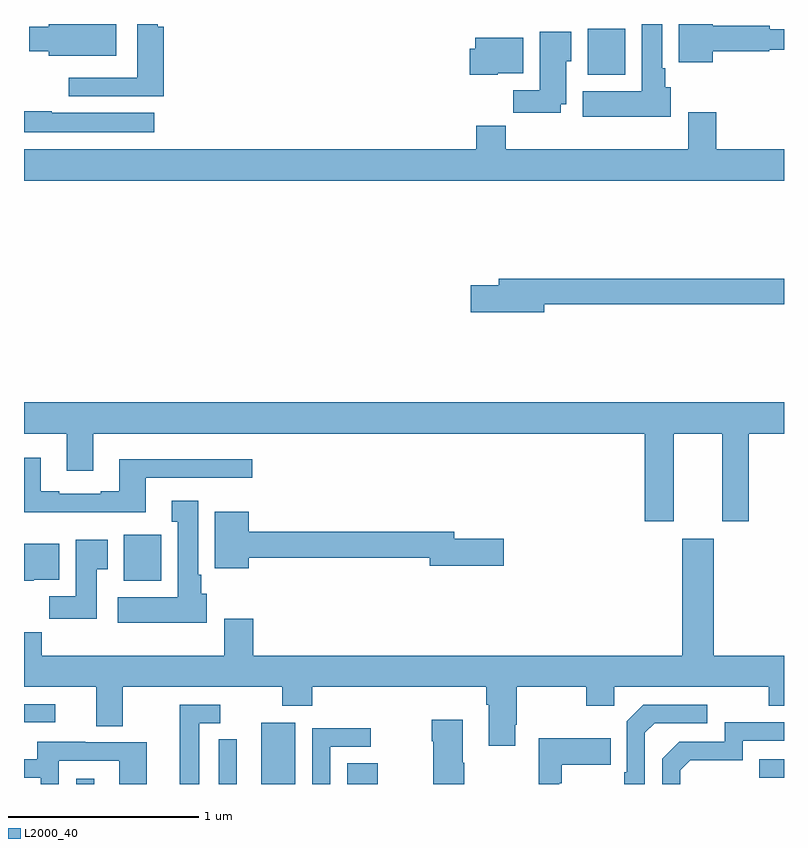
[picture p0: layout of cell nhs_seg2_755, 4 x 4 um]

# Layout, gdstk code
import gdstk
lib = gdstk.Library(unit=1e-6, precision=1e-09)
def R(c, l, rs):  # rectangles x0, y0, x1, y1
    for r in rs: c.add(gdstk.rectangle(r[:2], r[2:], *l))
def P(c, l, *ps):  # polygons
    for p in ps: c.add(gdstk.Polygon(p, *l))
L2000_40 = (2000, 40)

nhs_seg2_755 = lib.new_cell('nhs_seg2_755')
R(nhs_seg2_755, L2000_40, [(149.274,637.8,149.371,637.828), (150.248,637.8,150.427,638.122), (150.701,637.8,150.862,637.91), (152.869,637.833,153,637.929), (149,638.124,149.164,638.22), (149.525,638.87,149.722,639.112), (151.967,641.534,152.164,641.776)])
P(nhs_seg2_755, L2000_40, [(152.404,641.466),(152.374,641.466),(152.374,641.566),(152.359,641.566),(152.359,641.8),(152.252,641.8),(152.252,641.446),(151.94,641.446),(151.94,641.312),(152.404,641.312)],
  [(149.485,641.8),(149.129,641.8),(149.129,641.785),(149.027,641.785),(149.027,641.656),(149.129,641.656),(149.129,641.633),(149.485,641.633)],
  [(152.626,641.656),(152.922,641.656),(152.922,641.664),(153,641.664),(153,641.773),(152.924,641.773),(152.924,641.792),(152.626,641.792),(152.626,641.8),(152.447,641.8),(152.447,641.6),(152.626,641.6)],
  [(149.735,641.785),(149.704,641.785),(149.704,641.8),(149.595,641.8),(149.595,641.517),(149.235,641.517),(149.235,641.421),(149.735,641.421)],
  [(151.825,641.378),(151.855,641.378),(151.855,641.604),(151.879,641.604),(151.879,641.758),(151.715,641.758),(151.715,641.452),(151.576,641.452),(151.576,641.334),(151.825,641.334)],
  [(151.494,641.54),(151.627,641.54),(151.627,641.728),(151.376,641.728),(151.376,641.67),(151.346,641.67),(151.346,641.534),(151.494,641.534)],
  [(149.686,641.332),(149.147,641.332),(149.147,641.342),(149,641.342),(149,641.231),(149.686,641.231)],
  [(153,641.14),(152.643,641.14),(152.643,641.335),(152.495,641.335),(152.495,641.14),(151.535,641.14),(151.535,641.264),(151.379,641.264),(151.379,641.14),(149,641.14),(149,640.976),(153,640.976)],
  [(151.738,640.324),(153,640.324),(153,640.46),(151.499,640.46),(151.499,640.424),(151.35,640.424),(151.35,640.282),(151.738,640.282)],
  [(152.419,639.644),(152.675,639.644),(152.675,639.183),(152.815,639.183),(152.815,639.644),(153,639.644),(153,639.808),(149,639.808),(149,639.644),(149.225,639.644),(149.225,639.45),(149.365,639.45),(149.365,639.644),(152.267,639.644),(152.267,639.183),(152.419,639.183)],
  [(149.641,639.411),(150.202,639.411),(150.202,639.508),(149.501,639.508),(149.501,639.34),(149.405,639.34),(149.405,639.327),(149.185,639.327),(149.185,639.34),(149.089,639.34),(149.089,639.517),(149,639.517),(149,639.23),(149.641,639.23)],
  [(149.962,638.802),(149.932,638.802),(149.932,638.902),(149.917,638.902),(149.917,639.292),(149.777,639.292),(149.777,639.179),(149.81,639.179),(149.81,638.782),(149.493,638.782),(149.493,638.648),(149.962,638.648)],
  [(150.184,638.992),(151.136,638.992),(151.136,638.95),(151.525,638.95),(151.525,639.092),(151.264,639.092),(151.264,639.128),(150.184,639.128),(150.184,639.232),(150.005,639.232),(150.005,638.936),(150.184,638.936)],
  [(151.585,638.113),(151.593,638.113),(151.593,638.312),(151.96,638.312),(151.96,638.213),(152.106,638.213),(152.106,638.312),(152.92,638.312),(152.92,638.213),(153,638.213),(153,638.476),(152.629,638.476),(152.629,639.091),(152.465,639.091),(152.465,638.476),(150.206,638.476),(150.206,638.671),(150.053,638.671),(150.053,638.476),(149.093,638.476),(149.093,638.6),(149,638.6),(149,638.312),(149.381,638.312),(149.381,638.104),(149.521,638.104),(149.521,638.312),(150.358,638.312),(150.358,638.213),(150.518,638.213),(150.518,638.312),(151.433,638.312),(151.433,638.216),(151.445,638.216),(151.445,638.001),(151.585,638.001)],
  [(149.383,638.929),(149.44,638.929),(149.44,639.085),(149.273,639.085),(149.273,638.788),(149.134,638.788),(149.134,638.67),(149.383,638.67)],
  [(149.052,638.876),(149.185,638.876),(149.185,639.064),(149,639.064),(149,638.87),(149.052,638.87)],
  [(152.268,638.07),(152.319,638.121),(152.596,638.121),(152.596,638.217),(152.259,638.217),(152.172,638.13),(152.172,637.861),(152.16,637.861),(152.16,637.8),(152.268,637.8)],
  [(149.923,638.121),(150.034,638.121),(150.034,638.217),(149.819,638.217),(149.819,637.8),(149.923,637.8)],
  [(151.317,637.913),(151.309,637.913),(151.309,638.137),(151.147,638.137),(151.147,638.024),(151.154,638.024),(151.154,637.8),(151.317,637.8)],
  [(152.454,637.872),(152.507,637.925),(152.784,637.925),(152.784,638.028),(153,638.028),(153,638.124),(152.688,638.124),(152.688,638.022),(152.448,638.022),(152.358,637.932),(152.358,637.8),(152.454,637.8)],
  [(150.612,637.995),(150.826,637.995),(150.826,638.094),(150.516,638.094),(150.516,637.8),(150.612,637.8)],
  [(151.818,637.805),(151.831,637.805),(151.831,637.901),(152.087,637.901),(152.087,638.041),(151.71,638.041),(151.71,637.8),(151.818,637.8)],
  [(150.119,637.882),(150.12,637.882),(150.12,638.036),(150.024,638.036),(150.024,637.8),(150.119,637.8)],
  [(149.184,637.923),(149.502,637.923),(149.502,637.8),(149.647,637.8),(149.647,638.019),(149.323,638.019),(149.323,638.023),(149.069,638.023),(149.069,637.929),(149,637.929),(149,637.833),(149.088,637.833),(149.088,637.8),(149.184,637.8)])

lib.write_gds('nhs_seg2_755.gds')
